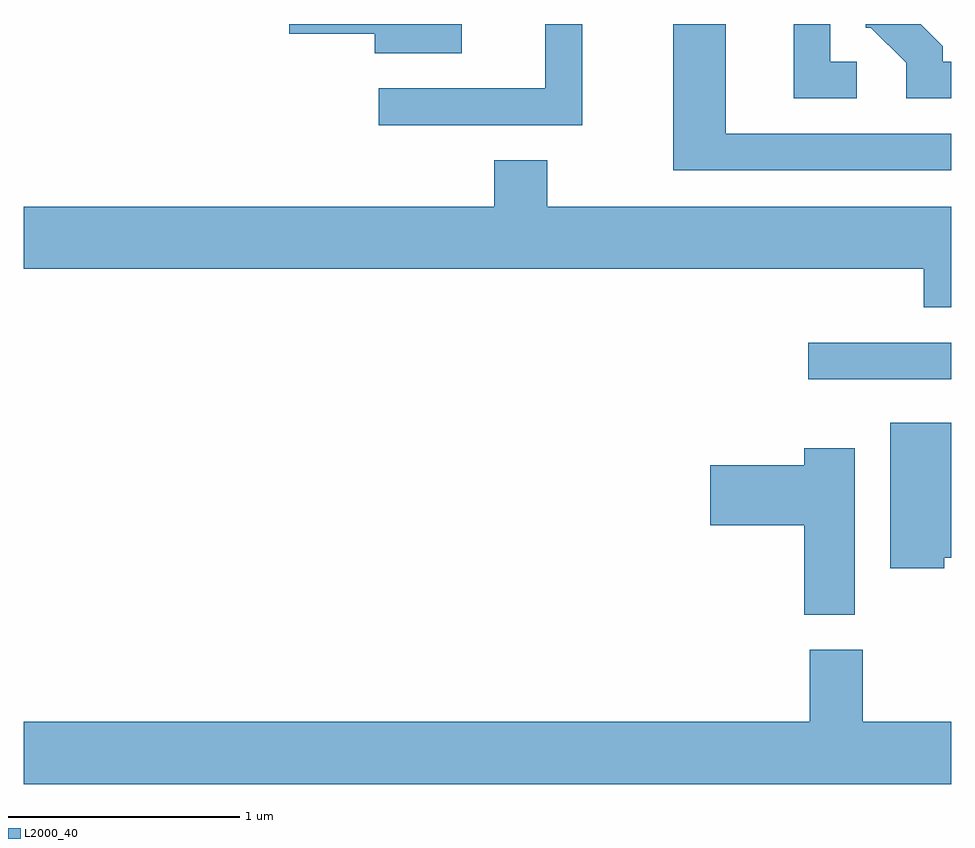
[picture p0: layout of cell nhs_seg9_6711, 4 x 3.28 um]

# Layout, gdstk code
import gdstk
lib = gdstk.Library(unit=1e-6, precision=1e-09)
def R(c, l, rs):  # rectangles x0, y0, x1, y1
    for r in rs: c.add(gdstk.rectangle(r[:2], r[2:], *l))
def P(c, l, *ps):  # polygons
    for p in ps: c.add(gdstk.Polygon(p, *l))
L2000_40 = (2000, 40)

nhs_seg9_6711 = lib.new_cell('nhs_seg9_6711')
R(nhs_seg9_6711, L2000_40, [(386.993,1986.901,387.611,1987.059)])
P(nhs_seg9_6711, L2000_40, [(385.499,1988.432),(384.756,1988.432),(384.756,1988.391),(385.126,1988.391),(385.126,1988.306),(385.499,1988.306)],
  [(387.611,1987.959),(386.639,1987.959),(386.639,1988.432),(386.411,1988.432),(386.411,1987.801),(387.611,1987.801)],
  [(387.611,1988.269),(387.574,1988.269),(387.574,1988.337),(387.479,1988.432),(387.241,1988.432),(387.241,1988.416),(387.264,1988.416),(387.416,1988.264),(387.416,1988.111),(387.611,1988.111)],
  [(386.019,1988.432),(385.861,1988.432),(385.861,1988.154),(385.143,1988.154),(385.143,1987.996),(386.019,1987.996)],
  [(387.203,1988.269),(387.089,1988.269),(387.089,1988.432),(386.931,1988.432),(386.931,1988.111),(387.203,1988.111)],
  [(387.611,1987.644),(385.869,1987.644),(385.869,1987.844),(385.641,1987.844),(385.641,1987.644),(383.611,1987.644),(383.611,1987.376),(387.491,1987.376),(387.491,1987.211),(387.611,1987.211)],
  [(387.579,1986.131),(387.611,1986.131),(387.611,1986.714),(387.346,1986.714),(387.346,1986.086),(387.579,1986.086)],
  [(387.194,1986.604),(386.976,1986.604),(386.976,1986.529),(386.571,1986.529),(386.571,1986.271),(386.976,1986.271),(386.976,1985.886),(387.194,1985.886)],
  [(387.611,1985.424),(387.229,1985.424),(387.229,1985.734),(387.001,1985.734),(387.001,1985.424),(383.611,1985.424),(383.611,1985.156),(387.611,1985.156)])

lib.write_gds('nhs_seg9_6711.gds')
